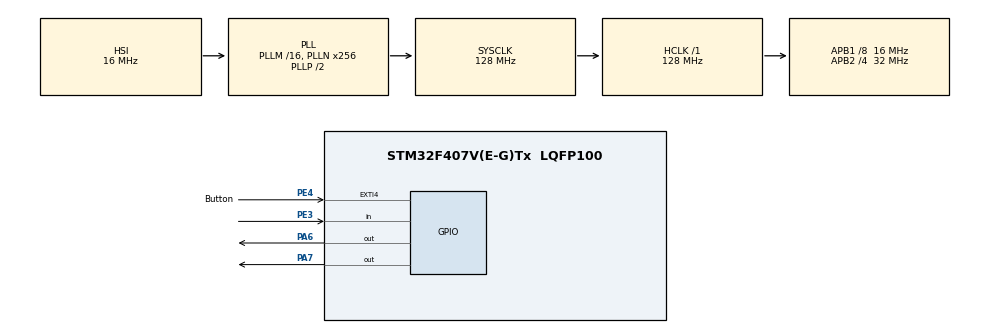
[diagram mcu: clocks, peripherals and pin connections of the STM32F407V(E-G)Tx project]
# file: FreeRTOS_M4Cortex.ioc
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Mcu.Family=STM32F4
Mcu.Name=STM32F407V(E-G)Tx
Mcu.Package=LQFP100
NVIC.EXTI4_IRQn=true\:6\:0\:true\:false\:true\:true\:true\:true
NVIC.PriorityGroup=NVIC_PRIORITYGROUP_4
NVIC.TIM6_DAC_IRQn=true\:15\:0\:false\:false\:true\:false\:true\:true
NVIC.TimeBase=TIM6_DAC_IRQn
NVIC.TimeBaseIP=TIM6
PA13.Mode=Serial_Wire
PA13.Signal=SYS_JTMS-SWDIO
PA14.Mode=Serial_Wire
PA14.Signal=SYS_JTCK-SWCLK
PA6.Signal=GPIO_Output
PA7.Signal=GPIO_Output
PE3.Signal=GPIO_Input
PE4.GPIO_Label=Button
PE4.GPIO_ModeDefaultEXTI=GPIO_MODE_IT_FALLING
PE4.GPIO_PuPd=GPIO_PULLUP
PE4.Signal=GPXTI4
ProjectManager.HeapSize=0x200
ProjectManager.StackSize=0x400
ProjectManager.TargetToolchain=STM32CubeIDE
RCC.48MHZClocksFreq_Value=64000000
RCC.AHBFreq_Value=128000000
RCC.APB1CLKDivider=RCC_HCLK_DIV8
RCC.APB1Freq_Value=16000000
RCC.APB1TimFreq_Value=32000000
RCC.APB2CLKDivider=RCC_HCLK_DIV4
RCC.APB2Freq_Value=32000000
RCC.APB2TimFreq_Value=64000000
RCC.CortexFreq_Value=128000000
RCC.HCLKFreq_Value=128000000
RCC.HSE_VALUE=25000000
RCC.HSI_VALUE=16000000
RCC.LSE_VALUE=32768
RCC.PLLN=256
RCC.SYSCLKFreq_VALUE=128000000
RCC.SYSCLKSource=RCC_SYSCLKSOURCE_PLLCLK
RCC.VCOOutputFreq_Value=256000000
VP_SYS_VS_tim6.Mode=TIM6
board=custom

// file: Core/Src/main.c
/* USER CODE BEGIN Header */
/**
  ******************************************************************************
  * @file           : main.c
  * @brief          : Main program body
  ******************************************************************************
  * @attention
  *
  * Copyright (c) 2023 STMicroelectronics.
  * All rights reserved.
  *
  * This software is licensed under terms that can be found in the LICENSE file
  * in the root directory of this software component.
  * If no LICENSE file comes with this software, it is provided AS-IS.
  *
  ******************************************************************************
  */
/* USER CODE END Header */
#include "main.h"

/* USER CODE BEGIN Includes */
#include "FreeRTOS.h"
#include "task.h"
#include <stdint.h>
#include<stdio.h>
extern  void SEGGER_UART_init(uint32_t);
/* USER CODE END Includes */

/* USER CODE BEGIN PTD */
static void task1_handler(void *parameters);
static void task2_handler(void *parameters);
void Button_interrupt_Handler(void);
TaskHandle_t task1_handle;
TaskHandle_t task2_handle;
//TaskHandle_t button_handle;
TaskHandle_t volatile next_task = NULL;

/* USER CODE END PTD */

/* USER CODE BEGIN PD */
static void task1_handler(void *parameters)
{
	BaseType_t waitstatus;

	//char msg[50];
	while(1)
	{
		//snprintf(msg, 50, (char*) parameters);
	//	SEGGER_SYSVIEW_PrintfTarget(msg);
		HAL_GPIO_TogglePin(GPIOA, GPIO_PIN_6);
		waitstatus= xTaskNotifyWait(0,0,NULL,pdMS_TO_TICKS(1000));

		if(waitstatus==pdTRUE)
		{
			//vTaskSuspendAll();
			portENTER_CRITICAL();
			next_task = task2_handle;
			//xTaskResumeAll();
			HAL_GPIO_WritePin(GPIOA, GPIO_PIN_6, GPIO_PIN_SET);
			vTaskDelete(NULL);
			portEXIT_CRITICAL();

		}

	}
}

static void task2_handler(void *parameters)
{
	BaseType_t waitstatus;
	//char msg[50];
	while(1)
	{
		//snprintf(msg, 50, (char*) parameters);
	//	SEGGER_SYSVIEW_PrintfTarget(msg);
		HAL_GPIO_TogglePin(GPIOA, GPIO_PIN_7);
		waitstatus= xTaskNotifyWait(0,0,NULL,pdMS_TO_TICKS(1000));

		if(waitstatus==pdTRUE)
			{
				//vTaskSuspendAll();
				portENTER_CRITICAL();
				next_task = NULL;
				//xTaskResumeAll();
				HAL_GPIO_WritePin(GPIOA, GPIO_PIN_7, GPIO_PIN_SET);
				//vTaskDelete(button_handle);
				vTaskDelete(NULL);
				portEXIT_CRITICAL();

			}
	}
}

/*
static void button_handler(void *parameters)
{
	uint8_t button_read = 1;
	uint8_t previous_read = 1;

	//char msg[50];
	while(1)
	{
		//snprintf(msg, 50, (char*) parameters);
//		SEGGER_SYSVIEW_PrintfTarget(msg);
		button_read = HAL_GPIO_ReadPin(GPIOE, GPIO_PIN_4);
		if(button_read==0)
		{
			if(previous_read==1)
			{
				xTaskNotify(next_task,0,eNoAction);

			}
		}
		previous_read = button_read;
		vTaskDelay(pdMS_TO_TICKS(20));
	}
}
*/

void Button_interrupt_Handler(void)
{
	BaseType_t pxHigherPriorityTaskWoken = pdFALSE;

	xTaskNotifyFromISR(next_task,0,eNoAction, &pxHigherPriorityTaskWoken);

	portYIELD_FROM_ISR(pxHigherPriorityTaskWoken);
}

void vApplicationIdleHook( void )
{
	HAL_PWR_EnterSLEEPMode(PWR_MAINREGULATOR_ON, PWR_SLEEPENTRY_WFI);

}
/* USER CODE END PD */

/* USER CODE BEGIN PV */
#define DWT_CTRL  *((volatile uint32_t *) 0xE0001000)
/* USER CODE END PV */

void SystemClock_Config(void);
static void MX_GPIO_Init(void);

int main(void)
{
  /* USER CODE BEGIN 1 */

	BaseType_t task1_status;
	BaseType_t task2_status;
	//BaseType_t button_status;

  /* USER CODE END 1 */

  /* MCU Configuration--------------------------------------------------------*/

  /* Reset of all peripherals, Initializes the Flash interface and the Systick. */
  HAL_Init();

  /* Configure the system clock */
  SystemClock_Config();

  /* USER CODE BEGIN SysInit */
  CoreDebug->DEMCR |= CoreDebug_DEMCR_TRCENA_Msk;

  DWT->CYCCNT = 0;

  /* USER CODE END SysInit */

  /* Initialize all configured peripherals */
  MX_GPIO_Init();
  /* USER CODE BEGIN 2 */
  DWT_CTRL|=(1<<0);

  //SEGGER_UART_init(500000);

 // SEGGER_SYSVIEW_Conf();
//  SEGGER_SYSVIEW_Start();

  task1_status=xTaskCreate(task1_handler, "Task-1", 2000, "Hello world task 1", 1, &task1_handle);
  configASSERT(task1_status == pdPASS);
  next_task = task1_handle;
  task2_status=xTaskCreate(task2_handler, "Task-2", 2000, "Hello world task 2", 2, &task2_handle);
  configASSERT(task2_status == pdPASS);

  //button_status=xTaskCreate(button_handler, "Button task", 2000, "Button handler running", 3, &button_handle);
  //configASSERT(button_status == pdPASS);

  vTaskStartScheduler();
  /* USER CODE END 2 */

  /* Infinite loop */
  while (1)
  {

  }
}

void SystemClock_Config(void)
{
  RCC_OscInitTypeDef RCC_OscInitStruct = {0};
  RCC_ClkInitTypeDef RCC_ClkInitStruct = {0};

  /** Configure the main internal regulator output voltage
  */
  __HAL_RCC_PWR_CLK_ENABLE();
  __HAL_PWR_VOLTAGESCALING_CONFIG(PWR_REGULATOR_VOLTAGE_SCALE1);

  /** Initializes the RCC Oscillators according to the specified parameters
  * in the RCC_OscInitTypeDef structure.
  */
  RCC_OscInitStruct.OscillatorType = RCC_OSCILLATORTYPE_HSI;
  RCC_OscInitStruct.HSIState = RCC_HSI_ON;
  RCC_OscInitStruct.HSICalibrationValue = RCC_HSICALIBRATION_DEFAULT;
  RCC_OscInitStruct.PLL.PLLState = RCC_PLL_ON;
  RCC_OscInitStruct.PLL.PLLSource = RCC_PLLSOURCE_HSI;
  RCC_OscInitStruct.PLL.PLLM = 16;
  RCC_OscInitStruct.PLL.PLLN = 256;
  RCC_OscInitStruct.PLL.PLLP = RCC_PLLP_DIV2;
  RCC_OscInitStruct.PLL.PLLQ = 4;
  if (HAL_RCC_OscConfig(&RCC_OscInitStruct) != HAL_OK)
  {
    Error_Handler();
  }

  /** Initializes the CPU, AHB and APB buses clocks
  */
  RCC_ClkInitStruct.ClockType = RCC_CLOCKTYPE_HCLK|RCC_CLOCKTYPE_SYSCLK
                              |RCC_CLOCKTYPE_PCLK1|RCC_CLOCKTYPE_PCLK2;
  RCC_ClkInitStruct.SYSCLKSource = RCC_SYSCLKSOURCE_PLLCLK;
  RCC_ClkInitStruct.AHBCLKDivider = RCC_SYSCLK_DIV1;
  RCC_ClkInitStruct.APB1CLKDivider = RCC_HCLK_DIV8;
  RCC_ClkInitStruct.APB2CLKDivider = RCC_HCLK_DIV4;

  if (HAL_RCC_ClockConfig(&RCC_ClkInitStruct, FLASH_LATENCY_4) != HAL_OK)
  {
    Error_Handler();
  }
}

static void MX_GPIO_Init(void)
{
  GPIO_InitTypeDef GPIO_InitStruct = {0};

  /* GPIO Ports Clock Enable */
  __HAL_RCC_GPIOE_CLK_ENABLE();
  __HAL_RCC_GPIOA_CLK_ENABLE();

  /*Configure GPIO pin Output Level */
  HAL_GPIO_WritePin(GPIOA, GPIO_PIN_6|GPIO_PIN_7, GPIO_PIN_RESET);

  /*Configure GPIO pin : PE3 */
  GPIO_InitStruct.Pin = GPIO_PIN_3;
  GPIO_InitStruct.Mode = GPIO_MODE_INPUT;
  GPIO_InitStruct.Pull = GPIO_NOPULL;
  HAL_GPIO_Init(GPIOE, &GPIO_InitStruct);

  /*Configure GPIO pin : Button_Pin */
  GPIO_InitStruct.Pin = Button_Pin;
  GPIO_InitStruct.Mode = GPIO_MODE_IT_FALLING;
  GPIO_InitStruct.Pull = GPIO_PULLUP;
  HAL_GPIO_Init(Button_GPIO_Port, &GPIO_InitStruct);

  /*Configure GPIO pins : PA6 PA7 */
  GPIO_InitStruct.Pin = GPIO_PIN_6|GPIO_PIN_7;
  GPIO_InitStruct.Mode = GPIO_MODE_OUTPUT_PP;
  GPIO_InitStruct.Pull = GPIO_NOPULL;
  GPIO_InitStruct.Speed = GPIO_SPEED_FREQ_LOW;
  HAL_GPIO_Init(GPIOA, &GPIO_InitStruct);

  /* EXTI interrupt init*/
  HAL_NVIC_SetPriority(EXTI4_IRQn, 6, 0);
  HAL_NVIC_EnableIRQ(EXTI4_IRQn);

}

void HAL_TIM_PeriodElapsedCallback(TIM_HandleTypeDef *htim)
{
  if (htim->Instance == TIM6) {
    HAL_IncTick();
  }
}

void Error_Handler(void)
{
  __disable_irq();
  while (1)
  {
  }
}
